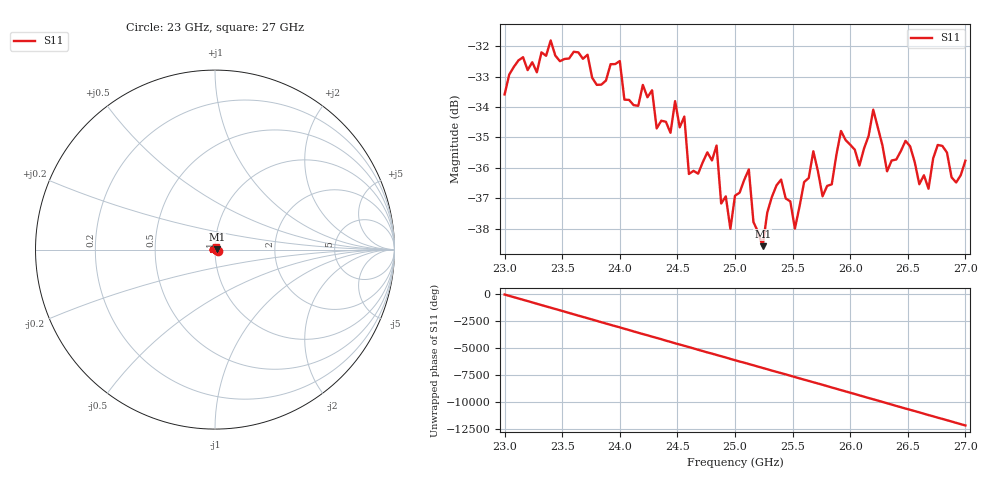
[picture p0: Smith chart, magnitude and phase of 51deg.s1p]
#  HZ  S  RI  R  50.00
! Rohde & Schwarz ZVA40 4Ports - Version 3.90 - 1145.1110k42 SN: 100403
! Date: 2023-09-26 11:00:08
! Measurement: S12
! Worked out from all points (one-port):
!   101 points, 23 GHz to 27 GHz, reference 50 ohm
!   lowest |S11| = -38.6 dB at 25.24 GHz (marker M1), VSWR 1.02, Z = 51.2 + j0.0904 ohm
!   |S11| at or under -10 dB: start of sweep to end of sweep
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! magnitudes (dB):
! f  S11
! 23 GHz  -33.6
! 23.52 GHz  -32.4
! 24 GHz  -32.5
! 24.04 GHz  -33.8
! 24.52 GHz  -34.7
! 24.56 GHz  -34.3
! 24.6 GHz  -36.2
! 24.84 GHz  -35.3
! 24.88 GHz  -37.2
! 24.96 GHz  -38.0
! 25 GHz  -36.9
! 25.12 GHz  -36.1
! 25.16 GHz  -37.8
! 25.24 GHz  -38.6
! 25.4 GHz  -36.4
! 25.52 GHz  -38.0
! 25.68 GHz  -35.5
! 25.76 GHz  -36.9
! 25.92 GHz  -34.8
! 26 GHz  -35.2
! 26.08 GHz  -35.9
! 26.2 GHz  -34.1
! 26.32 GHz  -36.1
! 26.52 GHz  -35.3
! 26.68 GHz  -36.7
! 26.76 GHz  -35.2
! 26.92 GHz  -36.5
! 27 GHz  -35.8
